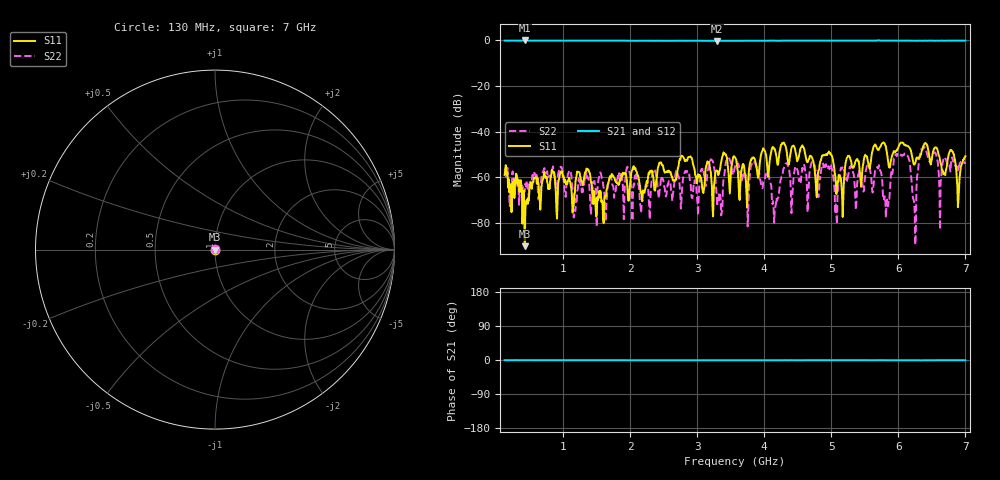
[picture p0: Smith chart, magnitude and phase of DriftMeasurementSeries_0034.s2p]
# Hz S RI R 50.000000
! Metas.Vna.Tools, 2.8.8664.20301
! Metas.Vna.Data, 2.8.8664.20285
! Created: UTC 2024.02.11 10:08:16
! FREQ  re:S1,1  im:S1,1  re:S2,1  im:S2,1  re:S1,2  im:S1,2  re:S2,2  im:S2,2
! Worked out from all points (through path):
!   801 points, 130 MHz to 7 GHz, reference 50 ohm
!   highest |S21| = -0.01 dB at 439.1 MHz (marker M1); lowest = -0.2 dB at 3.29 GHz (marker M2)
!   lowest |S11| = -90.2 dB at 430.6 MHz (marker M3), VSWR 1.00, Z = 50 + j0.0027 ohm
!   |S11| at or under -10 dB: start of sweep to end of sweep
!   |S22| runs from -89.6 to -46.7 dB; largest |S21 - S12| = 0.022
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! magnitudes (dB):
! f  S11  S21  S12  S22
! 130 MHz  -59.0  -0.1  0.0  -57.2
! 430.6 MHz  -90.2  0.0  0.0  -66.0
! 439.1 MHz  -74.7  0.0  0.0  -62.8
! 1.281 GHz  -61.8  -0.1  0.0  -66.5
! 1.607 GHz  -80.1  -0.1  0.0  -64.7
! 2.423 GHz  -55.1  -0.2  0.0  -67.8
! 3.213 GHz  -60.9  -0.1  0.0  -52.3
! 3.29 GHz  -57.0  -0.2  0.0  -67.2
! 3.565 GHz  -51.3  -0.1  0.0  -55.4
! 4.158 GHz  -47.5  -0.1  0.0  -74.0
! 4.321 GHz  -46.3  -0.1  0.0  -54.0
! 4.716 GHz  -51.6  -0.1  0.0  -53.3
! 5.076 GHz  -67.4  -0.1  0.0  -76.4
! 5.154 GHz  -64.2  -0.1  0.0  -56.2
! 5.257 GHz  -50.5  -0.1  0.0  -58.4
! 5.858 GHz  -55.3  0.0  0.0  -69.3
! 5.987 GHz  -47.7  -0.1  0.0  -49.8
! 6.141 GHz  -46.4  -0.1  0.0  -50.7
! 6.236 GHz  -54.5  -0.1  0.0  -70.8
! 6.365 GHz  -47.2  -0.1  0.0  -47.6
! 6.897 GHz  -69.8  -0.1  0.0  -55.1
! 7 GHz  -50.8  -0.1  0.0  -54.1
